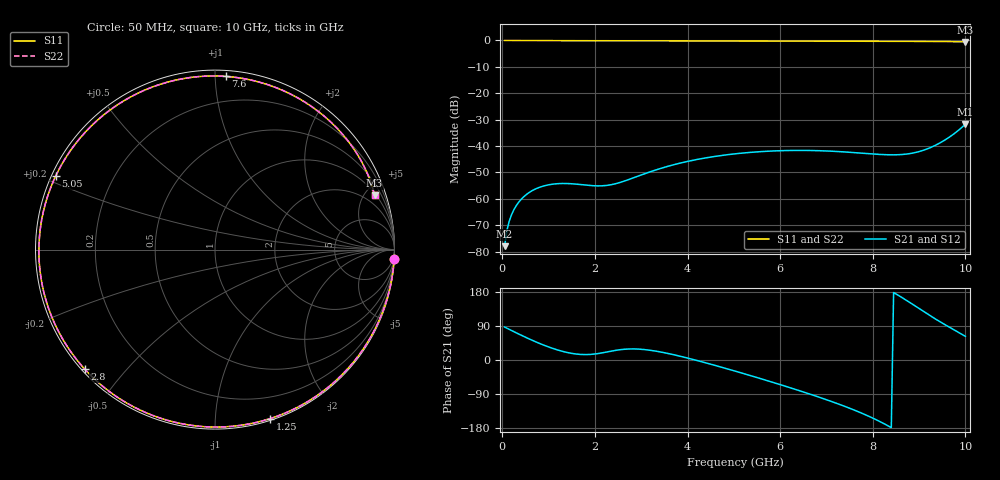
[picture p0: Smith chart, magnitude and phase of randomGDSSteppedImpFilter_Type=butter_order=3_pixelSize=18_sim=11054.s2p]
! freq	dB(S11)	phase(S11)	dB(S12)	phase(S12)
!  dB(S21)	phase(S21)	dB(S22)	phase(S22)
!S-par simulation data
#  GHz  S  DB  R 50
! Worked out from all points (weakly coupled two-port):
!   200 points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, 50 MHz to 10 GHz, reference 50 ohm
!   highest |S21| = -31.68 dB at 10 GHz (marker M1); lowest = -77.9 dB at 50 MHz (marker M2)
!   lowest |S11| = -0.5 dB at 10 GHz (marker M3), VSWR 31.71, Z = 57.2 + j292 ohm
!   |S11| at or under -10 dB: nowhere
!   |S22| runs from -0.5 to 0.0 dB; largest |S21 - S12| = 0
!   S11 on the Smith chart (normalised r, x): 50 MHz: 0, -37; 1.25 GHz: 0.01, -1.38; 2.8 GHz: 0.01, -0.39; 5.05 GHz: 0.01, +0.22; 7.6 GHz: 0.04, +1.06; 10 GHz: 1.14, +5.83
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0.05  -0.00 -3.1  -77.91 86.9  -77.91 86.9  -0.00 -3.1
0.1  -0.01 -6.2  -71.91 83.8  -71.91 83.8  -0.01 -6.2
0.15  -0.01 -9.2  -68.43 80.8  -68.43 80.8  -0.01 -9.2
0.25  -0.02 -15.3  -64.12 74.7  -64.12 74.7  -0.02 -15.3
0.4  -0.04 -24.4  -60.31 65.9  -60.31 65.9  -0.04 -24.4
0.75  -0.06 -44.8  -55.98 46.5  -55.98 46.5  -0.06 -44.8
1  -0.07 -58.7  -54.67 34.4  -54.67 34.4  -0.07 -58.7
1.25  -0.08 -71.9  -54.19 24.5  -54.19 24.5  -0.08 -71.9
1.75  -0.10 -95.9  -54.68 14.4  -54.68 14.4  -0.10 -95.9
2.25  -0.12 -117.1  -54.91 21.0  -54.91 21.0  -0.12 -117.1
2.8  -0.13 -137.6  -52.23 29.2  -52.23 29.2  -0.13 -137.6
3.4  -0.14 -157.5  -48.57 21.6  -48.57 21.6  -0.14 -157.5
4.2  -0.17 178.6  -45.09 -1.2  -45.09 -1.2  -0.17 178.6
5.05  -0.20 155.1  -42.89 -30.1  -42.89 -30.1  -0.20 155.1
5.9  -0.23 132.4  -41.82 -61.1  -41.82 -61.1  -0.23 132.4
6.7  -0.26 111.0  -41.69 -92.3  -41.69 -92.3  -0.26 111.0
7.6  -0.29 86.5  -42.47 -132.1  -42.47 -132.1  -0.29 86.5
8.35  -0.32 65.7  -43.30 -175.1  -43.30 -175.1  -0.32 65.7
8.8  -0.34 53.0  -42.85 151.7  -42.85 151.7  -0.34 53.0
9.2  -0.37 41.7  -40.91 119.9  -40.91 119.9  -0.37 41.7
9.65  -0.44 28.8  -36.66 86.9  -36.66 86.9  -0.44 28.8
10  -0.55 18.8  -31.68 62.4  -31.68 62.4  -0.55 18.8
